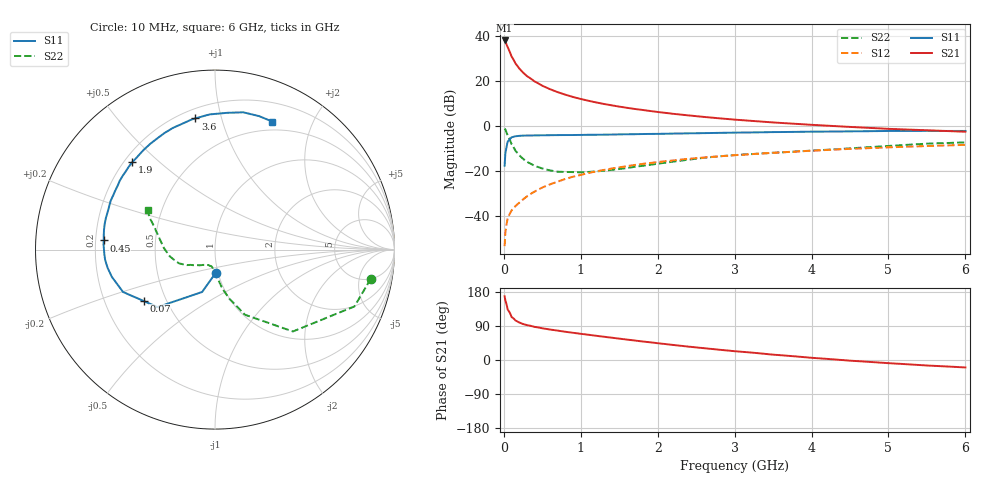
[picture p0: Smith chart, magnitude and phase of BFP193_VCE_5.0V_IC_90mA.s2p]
! Infineon Technologies  Discrete & RF Semiconductors
! BFP193
! VCE =  5.0 V,  IC =  90 mA
! Common Emitter S-Parameters:  Jan 2017
# GHz  S  MA  R  50
!  f  S11  S21  S12  S22
! GHz  MAG  ANG  MAG  ANG  MAG  ANG  MAG  ANG
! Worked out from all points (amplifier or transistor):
!   77 points, 10 MHz to 6 GHz, reference 50 ohm
!   highest |S21| = 38.2 dB at 10 MHz (marker M1)
!   |S21| within 3 dB of that: start of sweep to 49.94 MHz
!   unconditionally stable (mu >= 1): 363.7 MHz to 2.389 GHz
!   at 130 MHz: K = 0.74, MSG = 32.9 dB, |S12| = -36.4 dB
!   at 2.2 GHz: K = 1.01, MAG = 9.7 dB, |S12| = -15.3 dB
!   at 6 GHz: K = 0.93, MSG = 2.9 dB, |S12| = -8.3 dB
!   S11 on the Smith chart (normalised r, x): 10 MHz: 0.97, -0.26; 70 MHz: 0.37, -0.28; 450 MHz: 0.23, +0.04; 1.9 GHz: 0.23, +0.41; 3.6 GHz: 0.26, +0.83; 6 GHz: 0.40, +1.47
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0.01  0.1312 -88.7  81.6 168.1  0.0021 76.0  0.8833 -10.6
0.02  0.2467 -106.9  77.85 157.2  0.0042 76.8  0.8388 -22.2
0.05  0.4531 -135.0  57.74 132.9  0.0087 62.6  0.6297 -46.4
0.07  0.4899 -144.2  48.48 127.3  0.0105 62.3  0.5315 -52.0
0.1  0.5643 -155.3  36.03 113.6  0.0131 62.1  0.3994 -65.3
0.15  0.5944 -165.2  25.34 104.5  0.0164 62.4  0.2852 -73.7
0.2  0.6073 -170.5  19.39 99.0  0.0196 66.4  0.2245 -78.9
0.25  0.6149 -174.8  15.67 94.9  0.0232 68.2  0.1864 -82.1
0.3  0.6171 -177.8  13.11 92.1  0.0271 68.8  0.1599 -84.9
0.4  0.6216 177.4  9.941 87.4  0.0347 71.3  0.1301 -89.3
0.45  0.6226 175.3  8.95 85.8  0.0387 72.0  0.1217 -91.3
0.6  0.6283 169.8  6.676 80.4  0.0503 71.5  0.1028 -97.3
0.7  0.6312 166.6  5.731 77.6  0.0577 71.5  0.0963 -100.8
0.9  0.6336 160.7  4.466 71.8  0.0744 70.1  0.0944 -108.4
1.1  0.6418 155.0  3.684 66.6  0.09 68.4  0.0951 -115.4
1.9  0.6704 133.5  2.181 46.8  0.1506 59.0  0.1368 -140.8
2.1  0.6769 128.4  1.977 42.1  0.1649 56.3  0.153 -145.7
3.1  0.7197 107.3  1.358 21.6  0.2303 43.3  0.2313 -164.7
3.6  0.7389 98.5  1.18 12.6  0.2599 37.4  0.26 -173.8
4.1  0.755 90.8  1.048 4.4  0.2883 31.3  0.2905 176.1
5.1  0.7805 77.1  0.858 -9.5  0.341 19.5  0.3702 158.2
6  0.7816 65.9  0.75 -19.7  0.3826 9.2  0.4338 149.5
